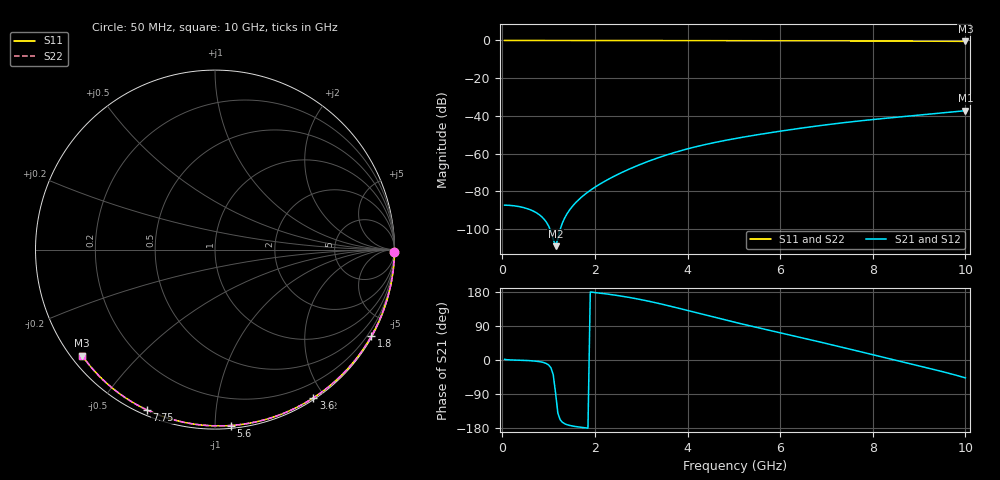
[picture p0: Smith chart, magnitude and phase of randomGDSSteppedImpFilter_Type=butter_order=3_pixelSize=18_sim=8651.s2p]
! freq	dB(S11)	phase(S11)	dB(S12)	phase(S12)
!  dB(S21)	phase(S21)	dB(S22)	phase(S22)
!S-par simulation data
#  GHz  S  DB  R 50
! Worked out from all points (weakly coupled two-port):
!   200 points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, 50 MHz to 10 GHz, reference 50 ohm
!   highest |S21| = -37.22 dB at 10 GHz (marker M1); lowest = -109.0 dB at 1.15 GHz (marker M2)
!   lowest |S11| = -0.5 dB at 10 GHz (marker M3), VSWR 36.76, Z = 1.53 - j17.5 ohm
!   |S11| at or under -10 dB: nowhere
!   |S22| runs from -0.5 to 0.0 dB; largest |S21 - S12| = 0
!   S11 on the Smith chart (normalised r, x): 50 MHz: open; 1.8 GHz: 0.03, -3.88; 3.6 GHz: 0.02, -1.86; 5.6 GHz: 0.02, -1.09; 7.75 GHz: 0.02, -0.66; 10 GHz: 0.03, -0.35
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0.05  -0.00 -0.8  -87.26 1.8  -87.26 1.8  -0.00 -0.8
0.6  -0.01 -9.8  -89.66 -1.8  -89.66 -1.8  -0.01 -9.8
1.15  -0.02 -18.6  -109.01 -86.5  -109.01 -86.5  -0.02 -18.6
1.75  -0.04 -28.1  -82.21 -178.4  -82.21 -178.4  -0.04 -28.1
1.8  -0.04 -28.9  -81.22 -179.1  -81.22 -179.1  -0.04 -28.9
1.85  -0.04 -29.7  -80.30 -179.8  -80.30 -179.8  -0.04 -29.7
1.9  -0.04 -30.5  -79.41 179.5  -79.41 179.5  -0.04 -30.5
2.05  -0.04 -32.8  -76.97 177.3  -76.97 177.3  -0.04 -32.8
2.25  -0.05 -35.9  -74.09 174.3  -74.09 174.3  -0.05 -35.9
2.65  -0.05 -42.1  -69.17 167.0  -69.17 167.0  -0.05 -42.1
3.05  -0.06 -48.2  -65.01 158.0  -65.01 158.0  -0.06 -48.2
3.4  -0.07 -53.4  -61.87 148.7  -61.87 148.7  -0.07 -53.4
3.6  -0.08 -56.4  -60.26 142.9  -60.26 142.9  -0.08 -56.4
4.25  -0.09 -65.9  -55.91 122.9  -55.91 122.9  -0.09 -65.9
5.05  -0.12 -77.3  -51.88 98.7  -51.88 98.7  -0.12 -77.3
5.6  -0.14 -84.9  -49.60 83.0  -49.60 83.0  -0.14 -84.9
6.15  -0.16 -92.3  -47.53 67.7  -47.53 67.7  -0.16 -92.3
6.7  -0.19 -99.6  -45.64 52.1  -45.64 52.1  -0.19 -99.6
7.75  -0.26 -113.1  -42.54 21.4  -42.54 21.4  -0.26 -113.1
8.35  -0.31 -120.7  -41.07 3.7  -41.07 3.7  -0.31 -120.7
9.2  -0.39 -131.4  -39.12 -21.3  -39.12 -21.3  -0.39 -131.4
10  -0.47 -141.4  -37.22 -47.2  -37.22 -47.2  -0.47 -141.4
